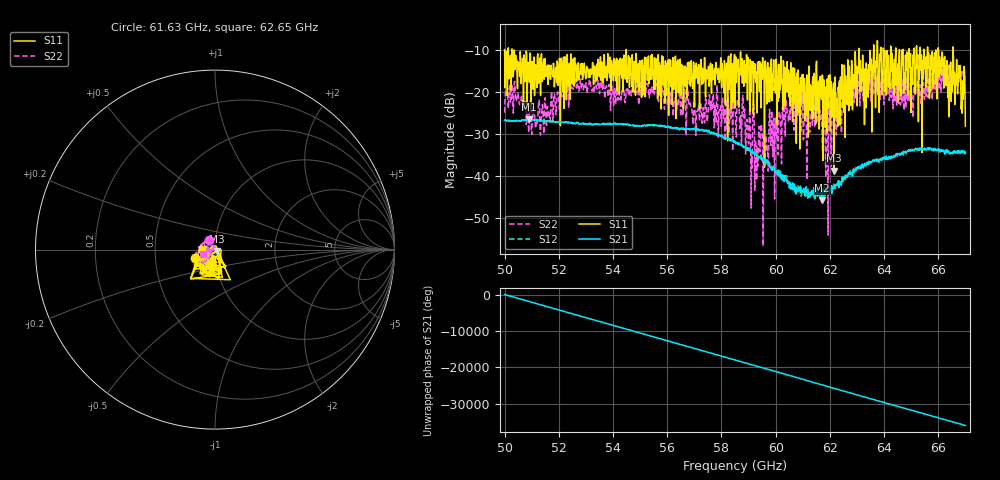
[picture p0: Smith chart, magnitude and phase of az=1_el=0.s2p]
!Created with skrf (http://scikit-rf.org).
# GHz S RI R 50.0
!freq ReS11 ImS11 ReS21 ImS21 ReS12 ImS12 ReS22 ImS22
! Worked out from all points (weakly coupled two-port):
!   1001 points, 50 GHz to 67 GHz, reference 50 ohm
!   highest |S21| = -26.47 dB at 50.88 GHz (marker M1); lowest = -45.7 dB at 61.71 GHz (marker M2)
!   lowest |S11| = -38.7 dB at 62.16 GHz (marker M3), VSWR 1.02, Z = 50.9 - j0.731 ohm
!   |S11| at or under -10 dB: 50.36 GHz to 54.49 GHz (4.13 GHz wide, 7.88 % of centre); 54.49 GHz to 63.07 GHz (8.583 GHz wide, 14.6 % of centre); 63.08 GHz to 63.61 GHz (537.9 MHz wide, 0.849 % of centre) (the widest 3 of 24)
!   |S22| runs from -56.6 to -14.1 dB; largest |S21 - S12| = 0.0021
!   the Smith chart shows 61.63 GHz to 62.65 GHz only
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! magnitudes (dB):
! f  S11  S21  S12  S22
! 50 GHz  -9.9  -26.7  -26.6  -24.9
! 50.42 GHz  -13.4  -26.8  -26.8  -22.2
! 50.88 GHz  -15.2  -26.5  -26.5  -29.6
! 52.84 GHz  -14.2  -27.5  -27.5  -19.0
! 55.68 GHz  -13.4  -27.9  -27.9  -22.2
! 58.5 GHz  -23.7  -32.0  -31.9  -24.0
! 59.61 GHz  -12.7  -36.0  -36.5  -37.1
! 59.84 GHz  -12.1  -38.4  -37.6  -25.0
! 60.03 GHz  -14.8  -39.2  -39.0  -31.1
! 60.34 GHz  -14.1  -40.1  -40.8  -25.5
! 61.34 GHz  -26.3  -43.3  -43.4  -25.1
! 61.71 GHz  -16.0  -45.7  -44.0  -30.7
! 62 GHz  -15.9  -43.3  -42.8  -24.8
! 62.16 GHz  -38.7  -42.6  -42.3  -28.6
! 63.01 GHz  -23.3  -38.3  -38.5  -20.2
! 63.33 GHz  -23.7  -37.5  -37.5  -18.9
! 63.69 GHz  -23.7  -36.2  -36.2  -16.4
! 64.18 GHz  -18.8  -35.3  -35.4  -18.5
! 66.08 GHz  -15.3  -33.7  -33.9  -15.5
! 66.42 GHz  -15.2  -34.7  -34.4  -16.3
! 66.75 GHz  -17.6  -33.9  -34.3  -18.2
! 67 GHz  -28.1  -34.3  -34.0  -15.6
